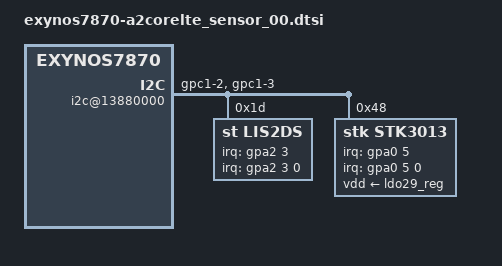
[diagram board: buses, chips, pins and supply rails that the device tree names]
/*
 * Copyright (c) 2012-2013, The Linux Foundation. All rights reserved.
 *
 * This program is free software; you can redistribute it and/or modify
 * it under the terms of the GNU General Public License version 2 and
 * only version 2 as published by the Free Software Foundation.
 *
 * This program is distributed in the hope that it will be useful,
 * but WITHOUT ANY WARRANTY; without even the implied warranty of
 * MERCHANTABILITY or FITNESS FOR A PARTICULAR PURPOSE.  See the
 * GNU General Public License for more details.
 */

/ {
	pinctrl@139F0000 {
		acc_int: acc_int {
			samsung,pins = "gpa2-3";
			samsung,pin-function = <0xf>;
			samsung,pin-pud = <0>;
			samsung,pin-drv = <0>;
		};

		prox_int: prox_int {
			samsung,pins = "gpa0-5";
			samsung,pin-function = <0xf>;
			samsung,pin-pud = <0>;
			samsung,pin-drv = <0>;
		};
	};

	pinctrl@139B0000 {
		sensor_i2c: sensor_i2c {
			samsung,pins = "gpc1-2", "gpc1-3";
			samsung,pin-function = <2>;
			samsung,pin-pud = <0>;
		};

	};

	i2c@13880000 {
		samsung,i2c-sda-delay = <100>;
		samsung,i2c-max-bus-freq = <400000>;
		status = "okay";
		#address-cells = <1>;
		#size-cells = <0>;
		pinctrl-names = "default";
		pinctrl-0 = <&sensor_i2c>;

		lis2ds@1D {
			compatible = "st,lis2ds";
			reg = <0x1D>;
			pinctrl-names = "default";
			pinctrl-0 = <&acc_int>;
			interrupt-parent = <&gpa2>;
			interrupts = <3 0 0>;
			st,orientation = <0 1 1 1 0 1 1 1 0>;
			st,drdy-int-pin = <1>;
			st,irq_gpio = <&gpa2 3 0x00>;
		};
		
		stk3013@48 {
			compatible = "stk,stk3013";
			reg = <0x48>;
			interrupt-parent = <&gpa0>;
			interrupts = <5 0 0>;
			pinctrl-names = "default";
			pinctrl-0 = <&prox_int>;
			stk,irq-gpio = <&gpa0 5 0x00>;
			stk,vdd-supply = <&ldo29_reg>;
			stk,vled_ldo = <&gpd4 3 0x00>;
			stk,transmittance = <500>;
			stk,state-reg = <0x2c>;
			stk,psctrl-reg = <0x71>;
			stk,ledctrl-reg = <0xBF>;
			stk,wait-reg = <0x03>;
			stk,ps-thd-h = <15>;
			stk,ps-thd-l = <8>;
			stk,ps-cancel-thd-h = <10>;
			stk,ps-cancel-thd-l = <7>;
			stk,ps-cal-skip-adc = <7>;
			stk,ps-cal-fail-adc = <23>;
			stk,ps-default-offset = <3>;
		};
	};

};
